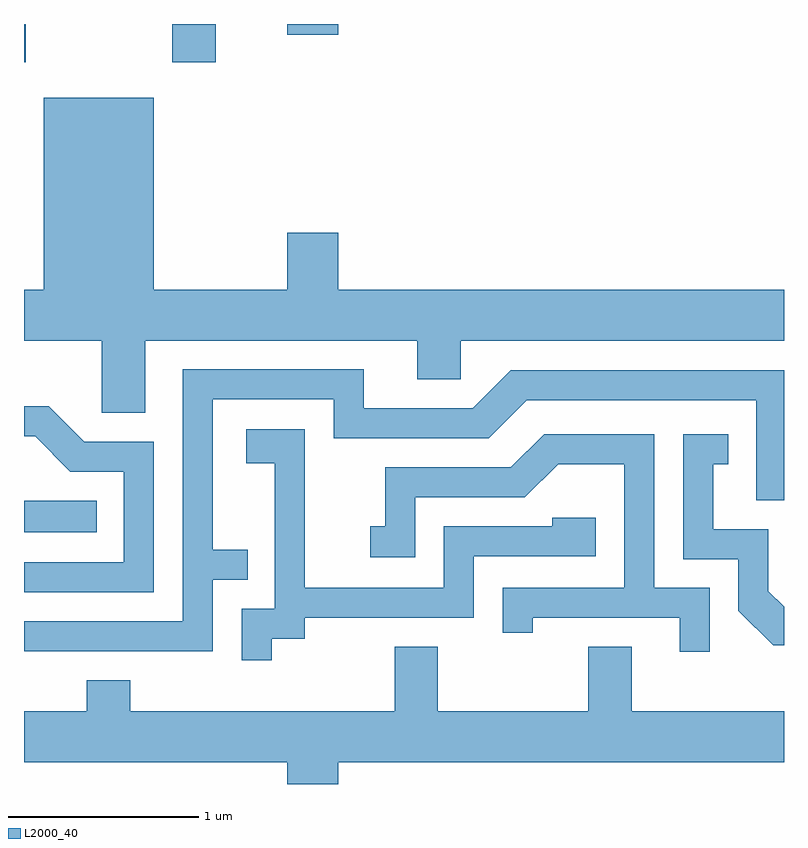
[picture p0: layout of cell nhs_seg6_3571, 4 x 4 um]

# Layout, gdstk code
import gdstk
lib = gdstk.Library(unit=1e-6, precision=1e-09)
def R(c, l, rs):  # rectangles x0, y0, x1, y1
    for r in rs: c.add(gdstk.rectangle(r[:2], r[2:], *l))
def P(c, l, *ps):  # polygons
    for p in ps: c.add(gdstk.Polygon(p, *l))
L2000_40 = (2000, 40)

nhs_seg6_3571 = lib.new_cell('nhs_seg6_3571')
R(nhs_seg6_3571, L2000_40, [(293.611,1533.486,293.993,1533.654), (293.611,1535.961,293.619,1536.162), (294.391,1535.961,294.619,1536.162), (294.996,1536.106,295.264,1536.162)])
P(nhs_seg6_3571, L2000_40, [(294.249,1534.496),(295.681,1534.496),(295.681,1534.291),(295.909,1534.291),(295.909,1534.496),(297.611,1534.496),(297.611,1534.764),(295.264,1534.764),(295.264,1535.064),(294.996,1535.064),(294.996,1534.764),(294.294,1534.764),(294.294,1535.774),(293.716,1535.774),(293.716,1534.764),(293.611,1534.764),(293.611,1534.496),(294.021,1534.496),(294.021,1534.116),(294.249,1534.116)],
  [(294.604,1533.236),(294.788,1533.236),(294.788,1533.394),(294.604,1533.394),(294.604,1534.186),(295.241,1534.186),(295.241,1533.981),(296.057,1533.981),(296.257,1534.181),(297.466,1534.181),(297.466,1533.656),(297.611,1533.656),(297.611,1534.339),(296.174,1534.339),(295.974,1534.139),(295.399,1534.139),(295.399,1534.344),(294.446,1534.344),(294.446,1533.019),(293.611,1533.019),(293.611,1532.861),(294.604,1532.861)],
  [(294.294,1533.964),(293.927,1533.964),(293.742,1534.149),(293.611,1534.149),(293.611,1533.991),(293.669,1533.991),(293.854,1533.806),(294.136,1533.806),(294.136,1533.329),(293.611,1533.329),(293.611,1533.171),(294.294,1533.171)],
  [(294.914,1532.926),(295.089,1532.926),(295.089,1533.036),(295.979,1533.036),(295.979,1533.361),(296.619,1533.361),(296.619,1533.564),(296.391,1533.564),(296.391,1533.519),(295.821,1533.519),(295.821,1533.194),(295.089,1533.194),(295.089,1534.029),(294.781,1534.029),(294.781,1533.851),(294.931,1533.851),(294.931,1533.084),(294.756,1533.084),(294.756,1532.813),(294.914,1532.813)],
  [(297.219,1533.194),(296.929,1533.194),(296.929,1534.004),(296.349,1534.004),(296.174,1533.829),(295.511,1533.829),(295.511,1533.519),(295.433,1533.519),(295.433,1533.356),(295.669,1533.356),(295.669,1533.671),(296.247,1533.671),(296.422,1533.846),(296.771,1533.846),(296.771,1533.194),(296.131,1533.194),(296.131,1532.958),(296.289,1532.958),(296.289,1533.036),(297.061,1533.036),(297.061,1532.858),(297.219,1532.858)],
  [(297.611,1533.095),(297.529,1533.177),(297.529,1533.504),(297.239,1533.504),(297.239,1533.846),(297.318,1533.846),(297.318,1534.004),(297.081,1534.004),(297.081,1533.346),(297.371,1533.346),(297.371,1533.074),(297.554,1532.891),(297.611,1532.891)],
  [(295.264,1532.276),(297.611,1532.276),(297.611,1532.544),(296.809,1532.544),(296.809,1532.884),(296.581,1532.884),(296.581,1532.544),(295.789,1532.544),(295.789,1532.884),(295.561,1532.884),(295.561,1532.544),(294.169,1532.544),(294.169,1532.709),(293.941,1532.709),(293.941,1532.544),(293.611,1532.544),(293.611,1532.276),(294.996,1532.276),(294.996,1532.162),(295.264,1532.162)])

lib.write_gds('nhs_seg6_3571.gds')
